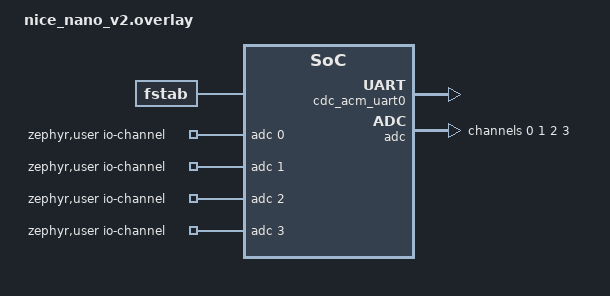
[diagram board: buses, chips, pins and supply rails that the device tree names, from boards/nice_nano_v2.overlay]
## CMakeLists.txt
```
cmake_minimum_required(VERSION 3.13.1)
find_package(Zephyr REQUIRED HINTS $ENV{ZEPHYR_BASE})

project(app LANGUAGES C)

target_sources(app PRIVATE src/main.c)

# N!N #target_sources(app PRIVATE src/heartbeat.c)
# target_sources(app PRIVATE src/heartbeat_nn.c)
# target_sources(app PRIVATE src/shell.c)
# target_sources(app PRIVATE src/fs.c)

#target_sources(app PRIVATE src/test.c)
# N!N #target_sources(app PRIVATE src/input_adc.c)
# target_sources(app PRIVATE src/settings.c)
# N!N #target_sources(app PRIVATE src/bitbangtest.c)
```

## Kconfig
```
# Copyright (c) 2021 Nordic Semiconductor ASA
# SPDX-License-Identifier: Apache-2.0
#
# This file is the application Kconfig entry point. All application Kconfig
# options can be defined here or included via other application Kconfig files.
# You can browse these options using the west targets menuconfig (terminal) or
# guiconfig (GUI).

menu "Zephyr"
source "Kconfig.zephyr"
endmenu

module = APP
module-str = APP

menu "App Config"

source "subsys/logging/Kconfig.template.log_config"

endmenu
```

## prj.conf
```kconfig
CONFIG_LOG=y

# SHELL
CONFIG_SHELL=y
CONFIG_REBOOT=y

#
CONFIG_SHELL_BACKEND_SERIAL_CHECK_DTR=y
CONFIG_USB_DEVICE_INITIALIZE_AT_BOOT=y
CONFIG_INIT_STACKS=y
# POSIX_TIMERS requires an embedded C library while the native USB driver is incompatible with it.
# So let's disable it. Once USB_NATIVE_POSIX supports embedded C libraries this can be removed.
CONFIG_POSIX_API=n
CONFIG_POSIX_TIMERS=n
# DATE_SHELL requires POSIX_TIMERS
CONFIG_DATE_SHELL=n


# Shell over USB CDC UART
CONFIG_USB_DEVICE_STACK=y
CONFIG_USB_DEVICE_PRODUCT="App Console"
CONFIG_USB_DEVICE_PID=0x0001

CONFIG_SERIAL=y
CONFIG_CONSOLE=y
CONFIG_UART_CONSOLE=y
CONFIG_UART_LINE_CTRL=y

# Persistent Storage (LittleFS)
CONFIG_FLASH=y
CONFIG_FLASH_SHELL=y
CONFIG_HEAP_MEM_POOL_SIZE=16384
CONFIG_FILE_SYSTEM=y
CONFIG_FILE_SYSTEM_SHELL=y
CONFIG_FILE_SYSTEM_LITTLEFS=y
CONFIG_FILE_SYSTEM_MKFS=y
CONFIG_FLASH_MAP=y

###CONFIG_SPI=y
###CONFIG_SPI_NOR=y
###CONFIG_SPI_NOR_FLASH_LAYOUT_PAGE_SIZE=4096

CONFIG_SETTINGS=y
CONFIG_SETTINGS_SHELL=y
CONFIG_SETTINGS_FILE=y
CONFIG_SETTINGS_FILE_PATH="/lfs/running_settings"
```

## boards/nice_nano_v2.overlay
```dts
/ {
	aliases {
		adc0 = &adc;
	};

	fstab {
		compatible = "zephyr,fstab";
		lfs: lfs {
			compatible = "zephyr,fstab,littlefs";
			mount-point = "/lfs";
			partition = <&storage_partition>;
			// Automount fails if partition is not already formatted, locking up the MCU
			automount;
			read-size = <16>;
			prog-size = <16>;
			cache-size = <64>;
			lookahead-size = <32>;
			block-cycles = <512>;
		};
	};

	zephyr,user {
		io-channels = <&adc 0>, <&adc 1>, <&adc 2>, <&adc 3>;
	};
};

&zephyr_udc0 {
	cdc_acm_uart0: cdc_acm_uart0 {
		compatible = "zephyr,cdc-acm-uart";
	};
};

&adc {
	#address-cells = <1>;
	#size-cells = <0>;

	channel@0 {
		reg = <0>;
		zephyr,gain = "ADC_GAIN_1";
		zephyr,reference = "ADC_REF_INTERNAL";
		zephyr,acquisition-time = <ADC_ACQ_TIME_DEFAULT>;
		zephyr,resolution = <12>;
		zephyr,oversampling = <8>;
	};

	channel@1 {
		reg = <1>;
		zephyr,gain = "ADC_GAIN_1";
		zephyr,reference = "ADC_REF_INTERNAL";
		zephyr,acquisition-time = <ADC_ACQ_TIME_DEFAULT>;
		zephyr,resolution = <12>;
	};

	channel@2 {
		reg = <2>;
		zephyr,gain = "ADC_GAIN_1";
		zephyr,reference = "ADC_REF_INTERNAL";
		zephyr,acquisition-time = <ADC_ACQ_TIME_DEFAULT>;
		zephyr,resolution = <12>;
	};

	channel@3 {
		reg = <3>;
		zephyr,gain = "ADC_GAIN_1";
		zephyr,reference = "ADC_REF_INTERNAL";
		zephyr,acquisition-time = <ADC_ACQ_TIME_DEFAULT>;
		zephyr,resolution = <12>;
	};
};
```

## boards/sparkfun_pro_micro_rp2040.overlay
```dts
/ {
	chosen {
		zephyr,console = &cdc_acm_uart0;
		zephyr,shell-uart = &cdc_acm_uart0;
	};

	aliases {
		adc0 = &adc;
	};

	fstab {
		compatible = "zephyr,fstab";
		lfs: lfs {
			compatible = "zephyr,fstab,littlefs";
			mount-point = "/lfs";
			partition = <&storage_partition>;
			// Automount fails if partition is not already formatted, locking up the MCU
			automount;
			read-size = <16>;
			prog-size = <16>;
			cache-size = <64>;
			lookahead-size = <32>;
			block-cycles = <512>;
		};
	};

	zephyr,user {
		io-channels = <&adc 0>, <&adc 1>, <&adc 2>, <&adc 3>;
	};
};

&zephyr_udc0 {
	cdc_acm_uart0: cdc_acm_uart0 {
		compatible = "zephyr,cdc-acm-uart";
	};
};

&code_partition {
	// Start at 0x100.  Size is 15MB - 0x100 ending on 15MB boundary.
	reg = <0x100 (DT_SIZE_M(15) - 0x100)>;
};

&flash0 {
	partitions {
		storage_partition: partition@f00000 {
			label = "storage";
			reg = <DT_SIZE_M(15) DT_SIZE_M(1)>;
		};
	};
};

&adc {
	#address-cells = <1>;
	#size-cells = <0>;

	channel@0 {
		reg = <0>;
		zephyr,gain = "ADC_GAIN_1";
		zephyr,reference = "ADC_REF_INTERNAL";
		zephyr,acquisition-time = <ADC_ACQ_TIME_DEFAULT>;
		zephyr,resolution = <12>;
		// zephyr,oversampling = <8>; // No oversampling on RPI_PICO
	};

	channel@1 {
		reg = <1>;
		zephyr,gain = "ADC_GAIN_1";
		zephyr,reference = "ADC_REF_INTERNAL";
		zephyr,acquisition-time = <ADC_ACQ_TIME_DEFAULT>;
		zephyr,resolution = <12>;
	};

	channel@2 {
		reg = <2>;
		zephyr,gain = "ADC_GAIN_1";
		zephyr,reference = "ADC_REF_INTERNAL";
		zephyr,acquisition-time = <ADC_ACQ_TIME_DEFAULT>;
		zephyr,resolution = <12>;
	};

	channel@3 {
		reg = <3>;
		zephyr,gain = "ADC_GAIN_1";
		zephyr,reference = "ADC_REF_INTERNAL";
		zephyr,acquisition-time = <ADC_ACQ_TIME_DEFAULT>;
		zephyr,resolution = <12>;
	};
};
```

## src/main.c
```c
#include <zephyr/logging/log.h>
LOG_MODULE_REGISTER(main, CONFIG_APP_LOG_LEVEL);

#include <zephyr/kernel.h>

#include <app_version.h>

#define DELAY_TIME K_MSEC(100)

int main(void)
{
	LOG_INF("App:\n  - Version: %s", APP_VERSION_STRING);

	while (1) {
		k_sleep(DELAY_TIME);
	}

	return 0;
}
```
